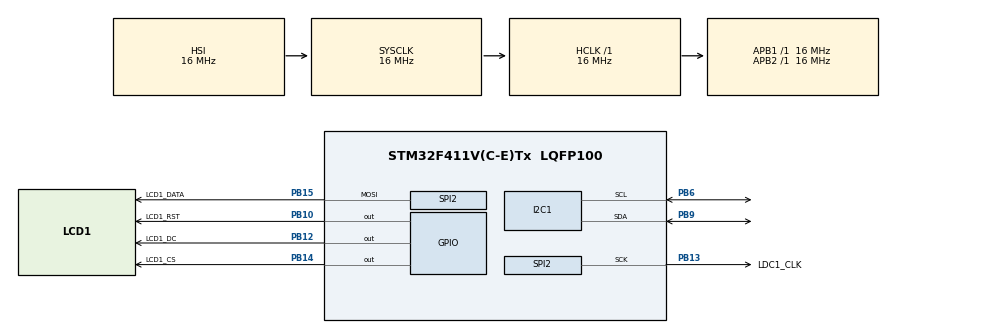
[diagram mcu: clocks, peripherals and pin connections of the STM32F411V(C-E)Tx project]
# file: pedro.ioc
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Mcu.Family=STM32F4
Mcu.Name=STM32F411V(C-E)Tx
Mcu.Package=LQFP100
NVIC.PriorityGroup=NVIC_PRIORITYGROUP_4
PB10.GPIO_Label=LCD1_RST
PB10.Signal=GPIO_Output
PB12.GPIO_Label=LCD1_DC
PB12.Signal=GPIO_Output
PB13.GPIO_Label=LDC1_CLK
PB13.Mode=TX_Only_Simplex_Unidirect_Master
PB13.Signal=SPI2_SCK
PB14.GPIO_Label=LCD1_CS
PB14.Signal=GPIO_Output
PB15.GPIO_Label=LCD1_DATA
PB15.Mode=TX_Only_Simplex_Unidirect_Master
PB15.Signal=SPI2_MOSI
PB6.Mode=I2C
PB6.Signal=I2C1_SCL
PB9.Mode=I2C
PB9.Signal=I2C1_SDA
PH0\ -\ OSC_IN.Mode=HSE-External-Oscillator
PH0\ -\ OSC_IN.Signal=RCC_OSC_IN
PH1\ -\ OSC_OUT.Mode=HSE-External-Oscillator
PH1\ -\ OSC_OUT.Signal=RCC_OSC_OUT
ProjectManager.HeapSize=0x200
ProjectManager.StackSize=0x400
ProjectManager.TargetToolchain=SW4STM32
RCC.AHBFreq_Value=16000000
RCC.APB1Freq_Value=16000000
RCC.APB2Freq_Value=16000000
RCC.CortexFreq_Value=16000000
RCC.HSE_VALUE=25000000
RCC.HSI_VALUE=16000000
RCC.LSE_VALUE=32768
RCC.SYSCLKFreq_VALUE=16000000
RCC.VCOOutputFreq_Value=192000000
SPI2.CalculateBaudRate=8.0 MBits/s
SPI2.Direction=SPI_DIRECTION_2LINES
SPI2.Mode=SPI_MODE_MASTER
SPI2.VirtualType=VM_MASTER
board=custom

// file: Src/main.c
/**
  ******************************************************************************
  * @file           : main.c
  * @brief          : Main program body
  ******************************************************************************
  ** This notice applies to any and all portions of this file
  * that are not between comment pairs USER CODE BEGIN and
  * USER CODE END. Other portions of this file, whether
  * inserted by the user or by software development tools
  * are owned by their respective copyright owners.
  *
  * COPYRIGHT(c) 2018 STMicroelectronics
  *
  * Redistribution and use in source and binary forms, with or without modification,
  * are permitted provided that the following conditions are met:
  *   1. Redistributions of source code must retain the above copyright notice,
  *      this list of conditions and the following disclaimer.
  *   2. Redistributions in binary form must reproduce the above copyright notice,
  *      this list of conditions and the following disclaimer in the documentation
  *      and/or other materials provided with the distribution.
  *   3. Neither the name of STMicroelectronics nor the names of its contributors
  *      may be used to endorse or promote products derived from this software
  *      without specific prior written permission.
  *
  * THIS SOFTWARE IS PROVIDED BY THE COPYRIGHT HOLDERS AND CONTRIBUTORS "AS IS"
  * AND ANY EXPRESS OR IMPLIED WARRANTIES, INCLUDING, BUT NOT LIMITED TO, THE
  * IMPLIED WARRANTIES OF MERCHANTABILITY AND FITNESS FOR A PARTICULAR PURPOSE ARE
  * DISCLAIMED. IN NO EVENT SHALL THE COPYRIGHT HOLDER OR CONTRIBUTORS BE LIABLE
  * FOR ANY DIRECT, INDIRECT, INCIDENTAL, SPECIAL, EXEMPLARY, OR CONSEQUENTIAL
  * DAMAGES (INCLUDING, BUT NOT LIMITED TO, PROCUREMENT OF SUBSTITUTE GOODS OR
  * SERVICES; LOSS OF USE, DATA, OR PROFITS; OR BUSINESS INTERRUPTION) HOWEVER
  * CAUSED AND ON ANY THEORY OF LIABILITY, WHETHER IN CONTRACT, STRICT LIABILITY,
  * OR TORT (INCLUDING NEGLIGENCE OR OTHERWISE) ARISING IN ANY WAY OUT OF THE USE
  * OF THIS SOFTWARE, EVEN IF ADVISED OF THE POSSIBILITY OF SUCH DAMAGE.
  *
  ******************************************************************************
  */
#include "main.h"
#include "stm32f4xx_hal.h"
#include "i2c.h"
#include "spi.h"
#include "gpio.h"
#include <math.h>

/* USER CODE BEGIN Includes */
#include "lcd5110.h"
/* USER CODE END Includes */

/* USER CODE BEGIN PV */
/* Private variables ---------------------------------------------------------*/

/* USER CODE END PV */

void SystemClock_Config(void);

/* USER CODE BEGIN PFP */
/* Private function prototypes -----------------------------------------------*/

/* USER CODE END PFP */

/* USER CODE BEGIN 0 */
LCD5110_display lcd1;
void delay() {
	HAL_Delay(1000);
	LCD5110_clear_scr(&lcd1);
	LCD5110_set_cursor(0, 0, &lcd1);
}
/* USER CODE END 0 */

int main(void)
{

  /* MCU Configuration----------------------------------------------------------*/

  /* Reset of all peripherals, Initializes the Flash interface and the Systick. */
  HAL_Init();

  /* Configure the system clock */
  SystemClock_Config();

  /* Initialize all configured peripherals */
  MX_GPIO_Init();
  MX_SPI2_Init();
  MX_I2C1_Init();
  /* USER CODE BEGIN 2 */
    lcd1.hw_conf.spi_handle = &hspi2;
    lcd1.hw_conf.spi_cs_pin =  LCD1_CS_Pin;
    lcd1.hw_conf.spi_cs_port = LCD1_CS_GPIO_Port;
    lcd1.hw_conf.rst_pin =  LCD1_RST_Pin;
    lcd1.hw_conf.rst_port = LCD1_RST_GPIO_Port;
    lcd1.hw_conf.dc_pin =  LCD1_DC_Pin;
    lcd1.hw_conf.dc_port = LCD1_DC_GPIO_Port;
    lcd1.def_scr = lcd5110_def_scr;
    LCD5110_init(&lcd1.hw_conf, LCD5110_NORMAL_MODE, 0x40, 2, 3);

    if(BSP_ACCELERO_Init() != HAL_OK || BSP_GYRO_Init() != HAL_OK)
      {
        /* Initialization Error */
     LCD5110_print("Error initializing HAL.", BLACK, &lcd1);
        while(1){}
      }
      /* USER CODE END 2 */

      /* Infinite loop */
      /* USER CODE BEGIN WHILE */
      int16_t accel[3] = {0};
      int16_t gyro[3] = {0};
      int biggestAccel = 0;
      int biggestGyro = 0;
      while (1) {
    	  BSP_ACCELERO_GetXYZ(accel);
		  BSP_GYRO_GetXYZ(gyro);
		  int16_t xX = gyro[0]/1000, yY = gyro[1]/1000, zZ = gyro[2]/1000;
		  int16_t x = accel[0]/1000, y = accel[1]/1000, z = accel[2]/1000;
		  int lengthA = sqrt(x*x + y*y + z*z);
		  LCD5110_print("Accel DATA:\n", BLACK, &lcd1);
		  LCD5110_printf(&lcd1, BLACK, "%i %i %i \n", x, y, z);
		  LCD5110_printf(&lcd1, BLACK, "Length = %d\n", lengthA);
		  LCD5110_print("The biggest:\n", BLACK, &lcd1);
		  if (lengthA > biggestAccel) {
			  biggestAccel = lengthA;
		  }
		  LCD5110_printf(&lcd1, BLACK, "%d", biggestAccel);
		  delay();
		  int lengthG = sqrt(xX*xX + yY*yY + zZ*zZ);
		  LCD5110_print("GYRO DATA:\n", BLACK, &lcd1);
		  LCD5110_printf(&lcd1, BLACK, "%i %i %i \n", xX, yY, zZ);
		  LCD5110_printf(&lcd1, BLACK, "Length = %d\n", lengthG);
		  LCD5110_print("The biggest:\n", BLACK, &lcd1);
		  if (lengthG > biggestGyro) {
			  biggestGyro = lengthG;
		  }
		  LCD5110_printf(&lcd1, BLACK, "%d", biggestGyro);
		  delay();
      /* USER CODE END WHILE */

}

}

void SystemClock_Config(void)
{

  RCC_OscInitTypeDef RCC_OscInitStruct;
  RCC_ClkInitTypeDef RCC_ClkInitStruct;

    /**Configure the main internal regulator output voltage
    */
  __HAL_RCC_PWR_CLK_ENABLE();

  __HAL_PWR_VOLTAGESCALING_CONFIG(PWR_REGULATOR_VOLTAGE_SCALE1);

    /**Initializes the CPU, AHB and APB busses clocks
    */
  RCC_OscInitStruct.OscillatorType = RCC_OSCILLATORTYPE_HSI;
  RCC_OscInitStruct.HSIState = RCC_HSI_ON;
  RCC_OscInitStruct.HSICalibrationValue = 16;
  RCC_OscInitStruct.PLL.PLLState = RCC_PLL_NONE;
  if (HAL_RCC_OscConfig(&RCC_OscInitStruct) != HAL_OK)
  {
    _Error_Handler(__FILE__, __LINE__);
  }

    /**Initializes the CPU, AHB and APB busses clocks
    */
  RCC_ClkInitStruct.ClockType = RCC_CLOCKTYPE_HCLK|RCC_CLOCKTYPE_SYSCLK
                              |RCC_CLOCKTYPE_PCLK1|RCC_CLOCKTYPE_PCLK2;
  RCC_ClkInitStruct.SYSCLKSource = RCC_SYSCLKSOURCE_HSI;
  RCC_ClkInitStruct.AHBCLKDivider = RCC_SYSCLK_DIV1;
  RCC_ClkInitStruct.APB1CLKDivider = RCC_HCLK_DIV1;
  RCC_ClkInitStruct.APB2CLKDivider = RCC_HCLK_DIV1;

  if (HAL_RCC_ClockConfig(&RCC_ClkInitStruct, FLASH_LATENCY_0) != HAL_OK)
  {
    _Error_Handler(__FILE__, __LINE__);
  }

    /**Configure the Systick interrupt time
    */
  HAL_SYSTICK_Config(HAL_RCC_GetHCLKFreq()/1000);

    /**Configure the Systick
    */
  HAL_SYSTICK_CLKSourceConfig(SYSTICK_CLKSOURCE_HCLK);

  /* SysTick_IRQn interrupt configuration */
  HAL_NVIC_SetPriority(SysTick_IRQn, 0, 0);
}

void _Error_Handler(char *file, int line)
{
  while(1)
  {
  }
}

/************************ (C) COPYRIGHT STMicroelectronics *****END OF FILE****/
